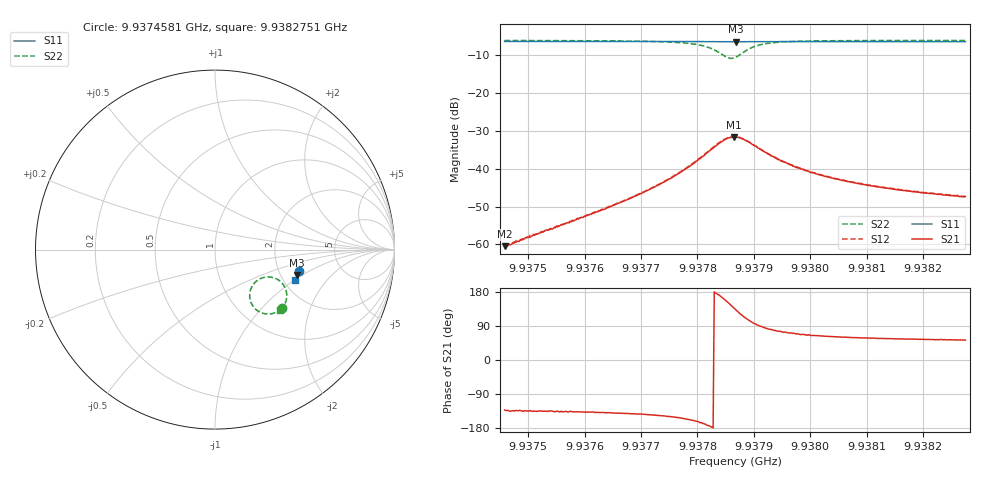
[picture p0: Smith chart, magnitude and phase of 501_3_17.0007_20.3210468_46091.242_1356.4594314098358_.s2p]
#  HZ  S  RI  R  50.00
! Rohde & Schwarz Vector Network Analyzer
! Rohde-Schwarz,ZNB20-2Port,1311601062101988,3.16
! Created: UTC 3/20/2024, 11:14:36 PM
! freq[Hz]  re:S11  im:S11  re:S21  im:S21  re:S12  im:S12  re:S22  im:S22
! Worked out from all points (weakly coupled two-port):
!   401 points, 9.9374581 GHz to 9.9382751 GHz, reference 50 ohm
!   highest |S21| = -31.58 dB at 9.9378645 GHz (marker M1); lowest = -60.5 dB at 9.9374581 GHz (marker M2)
!   lowest |S11| = -6.4 dB at 9.9378686 GHz (marker M3), VSWR 2.83, Z = 122 - j45.4 ohm
!   |S11| at or under -10 dB: nowhere
!   |S22| runs from -10.8 to -6.1 dB; largest |S21 - S12| = 0.0011
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9.93745808e9  0.4681 -0.1188  -0.000633 -0.000705  -0.000687 -0.000682  0.3738 -0.3273
9.93759493e9  0.4649 -0.1281  -0.00168 -0.00156  -0.00171 -0.00155  0.3582 -0.3395
9.93767663e9  0.4631 -0.1335  -0.00306 -0.00247  -0.00315 -0.00244  0.3417 -0.3487
9.93773178e9  0.4615 -0.1373  -0.00512 -0.00342  -0.00525 -0.00341  0.3214 -0.356
9.93777671e9  0.4601 -0.1404  -0.00874 -0.00416  -0.00898 -0.00406  0.2893 -0.3589
9.93781552e9  0.4581 -0.1429  -0.0158 -0.0026  -0.0161 -0.00233  0.2349 -0.3385
9.93782982e9  0.4572 -0.1435  -0.0194 7.9e-05  -0.0198 0.000771  0.2089 -0.3106
9.93784411e9  0.4565 -0.1439  -0.0223 0.00616  -0.0225 0.00686  0.1932 -0.2597
9.93785637e9  0.4561 -0.1439  -0.0221 0.0132  -0.0221 0.0143  0.2071 -0.2038
9.93786454e9  0.456 -0.1437  -0.0194 0.0179  -0.0192 0.0188  0.235 -0.1726
9.93786658e9  0.4561 -0.1437  -0.0184 0.0188  -0.0181 0.0197  0.2438 -0.1667
9.93786862e9  0.456 -0.1437  -0.0174 0.0195  -0.0172 0.0204  0.2529 -0.1617
9.93787883e9  0.4565 -0.1439  -0.0118 0.022  -0.0112 0.0227  0.3002 -0.1524
9.93789109e9  0.457 -0.1446  -0.00578 0.0219  -0.00522 0.0222  0.3465 -0.1651
9.9379156e9  0.4572 -0.1466  0.000915 0.0172  0.00127 0.0174  0.3897 -0.2109
9.93794624e9  0.4569 -0.149  0.0032 0.0127  0.00362 0.0126  0.4002 -0.2528
9.93797279e9  0.4563 -0.151  0.00371 0.01  0.00403 0.0101  0.3984 -0.2746
9.93800343e9  0.4556 -0.1532  0.00379 0.00801  0.00395 0.00807  0.3939 -0.2911
9.93806674e9  0.4539 -0.1575  0.00342 0.00588  0.0036 0.00585  0.385 -0.3107
9.93814027e9  0.452 -0.1624  0.00304 0.00456  0.00315 0.00456  0.3765 -0.3236
9.9381995e9  0.4504 -0.1663  0.00277 0.00395  0.00291 0.00389  0.3708 -0.3309
9.93827508e9  0.4482 -0.1712  0.00262 0.00338  0.00269 0.00341  0.3644 -0.3384
